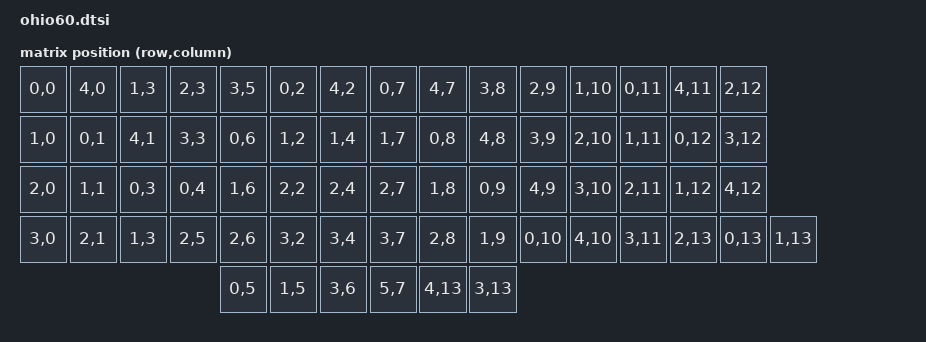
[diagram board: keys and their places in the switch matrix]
#include <dt-bindings/zmk/matrix_transform.h>
#include "ohio60-layouts.dtsi"

&physical_layout0 {
    transform = <&default_transform>;
};

/ {
    chosen {
        zmk,physical-layout = &physical_layout0;
        zmk,kscan = &kscan0;
    };

    default_transform: keymap_transform0 {
        compatible = "zmk,matrix-transform";
        columns = <16>;
        rows = <5>;
        map = < 
            // row collumn
            //LK1   LK5     LK9     LK18    LK27    LK11    LK15        RK32    RK36    RK40    RK44    RK48    RK52    RK 56      RK59
            RC(0,0) RC(4,0) RC(1,3) RC(2,3) RC(3,5) RC(0,2) RC(4,2)     RC(0,7) RC(4,7) RC(3,8) RC(2,9) RC(1,10) RC(0,11) RC(4,11) RC(2,12)

            //2     6       10      19      28      12      21          33      37      41      45      49      53        57       60                                
            RC(1,0) RC(0,1) RC(4,1) RC(3,3) RC(0,6) RC(1,2) RC(1,4)     RC(1,7) RC(0,8) RC(4,8) RC(3,9) RC(2,10) RC(1,11) RC(0,12) RC(3,12) 

            //3     7       16      20      29      13      22          34      38      42      46      50      54        58       61   
            RC(2,0) RC(1,1) RC(0,3) RC(0,4) RC(1,6) RC(2,2) RC(2,4)     RC(2,7) RC(1,8) RC(0,9) RC(4,9) RC(3,10) RC(2,11) RC(1,12) RC(4,12) 
            
            //4     8       17      26      30      14      23          35      39      43      47       51       55       64       62       63   
            RC(3,0) RC(2,1) RC(1,3) RC(2,5) RC(2,6) RC(3,2) RC(3,4)     RC(3,7) RC(2,8) RC(1,9) RC(0,10) RC(4,10) RC(3,11) RC(2,13) RC(0,13) RC(1,13)
            
            //                              24      25      31          67      66      65                                            
                                            RC(0,5) RC(1,5) RC(3,6)     RC(5,7) RC(4,13) RC(3,13) 
        >;
    };
    
    kscan0: kscan0 {
        compatible = "zmk,kscan-gpio-matrix";
        diode-direction = "col2row";
        wakeup-source;
    };
};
